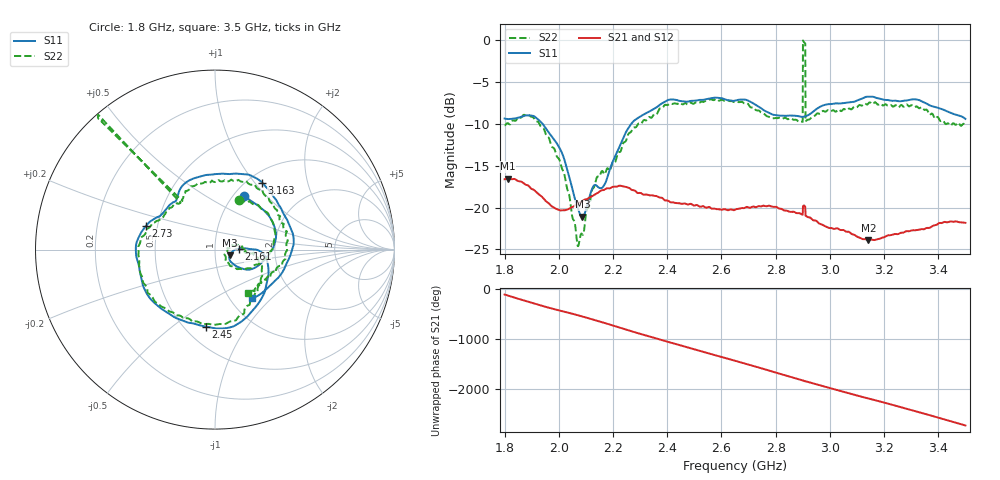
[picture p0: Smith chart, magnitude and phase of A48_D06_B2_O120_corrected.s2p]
! Created with skrf 1.9.0 (http://scikit-rf.org).
# Hz S RI R 50.0
!freq ReS11 ImS11 ReS21 ImS21 ReS12 ImS12 ReS22 ImS22
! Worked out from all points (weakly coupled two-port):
!   1601 points, 1.8 GHz to 3.5 GHz, reference 50 ohm
!   highest |S21| = -16.53 dB at 1.812 GHz (marker M1); lowest = -23.9 dB at 3.142 GHz (marker M2)
!   lowest |S11| = -21.1 dB at 2.087 GHz (marker M3), VSWR 1.19, Z = 58.8 - j3.89 ohm
!   |S11| at or under -10 dB: 1.94 GHz to 2.267 GHz (327.1 MHz wide, 15.5 % of centre)
!   |S22| runs from -24.6 to -0.1 dB; largest |S21 - S12| = 0.0025
!   S11 on the Smith chart (normalised r, x): 1.8 GHz: 1.12, +0.76; 2.161 GHz: 1.30, +0.01; 2.45 GHz: 0.63, -0.66; 2.73 GHz: 0.43, +0.14; 3.163 GHz: 1.16, +1.09; 3.5 GHz: 1.27, -0.76
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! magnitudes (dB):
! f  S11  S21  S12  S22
! 1.8 GHz  -9.4  -16.6  -16.6  -10.2
! 1.812 GHz  -9.4  -16.5  -16.5  -9.9
! 1.942 GHz  -10.1  -18.9  -18.9  -10.5
! 2.011 GHz  -13.5  -20.3  -20.3  -15.3
! 2.068 GHz  -19.9  -19.6  -19.6  -24.2
! 2.084 GHz  -21.0  -19.3  -19.2  -23.1
! 2.087 GHz  -21.1  -19.2  -19.2  -23.2
! 2.161 GHz  -17.6  -17.9  -17.9  -15.7
! 2.262 GHz  -10.2  -17.7  -17.7  -11.1
! 2.367 GHz  -7.9  -18.7  -18.7  -8.4
! 2.45 GHz  -7.3  -19.5  -19.5  -7.5
! 2.65 GHz  -7.2  -20.3  -20.2  -7.4
! 2.73 GHz  -7.8  -19.9  -20.0  -8.4
! 2.891 GHz  -9.2  -20.7  -20.7  -9.7
! 2.901 GHz  -9.2  -19.8  -19.8  -0.1
! 2.909 GHz  -9.1  -19.9  -19.9  -0.4
! 2.919 GHz  -9.0  -21.1  -21.1  -9.5
! 2.934 GHz  -8.7  -21.4  -21.4  -9.2
! 3.142 GHz  -6.8  -23.9  -23.8  -7.6
! 3.163 GHz  -6.8  -23.9  -23.8  -7.5
! 3.217 GHz  -7.2  -23.3  -23.3  -7.8
! 3.5 GHz  -9.4  -21.8  -21.8  -10.4
